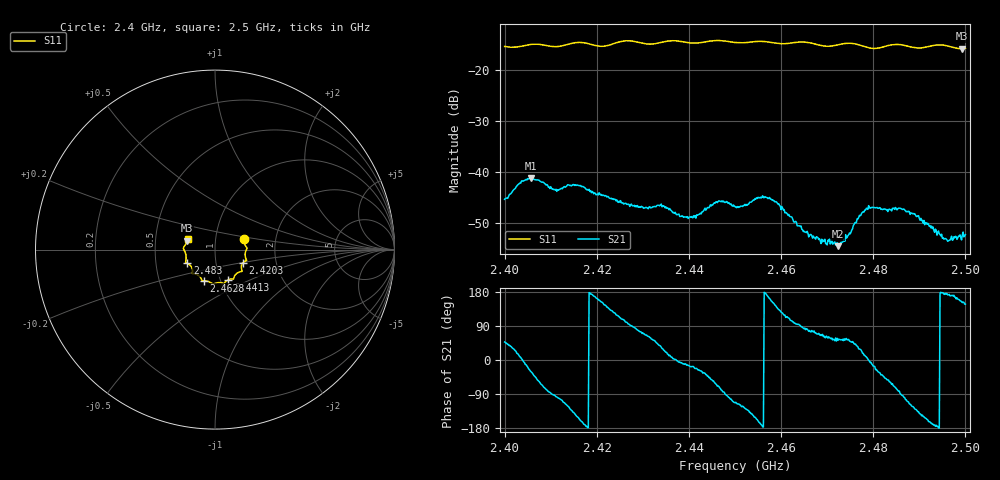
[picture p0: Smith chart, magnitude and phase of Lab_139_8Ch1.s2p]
# Hz S RI R 50
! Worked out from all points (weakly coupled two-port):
!   601 points, 2.4 GHz to 2.5 GHz, reference 50 ohm
!   highest |S21| = -41.23 dB at 2.4057 GHz (marker M1); lowest = -54.6 dB at 2.4723 GHz (marker M2)
!   lowest |S11| = -15.8 dB at 2.4993 GHz (marker M3), VSWR 1.39, Z = 36.5 + j3.72 ohm
!   |S11| at or under -10 dB: start of sweep to end of sweep
!   S12 and S22 are empty: the file has one direction only
!   S11 on the Smith chart (normalised r, x): 2.4 GHz: 1.37, +0.16; 2.4203 GHz: 1.35, -0.21; 2.4413 GHz: 1.09, -0.38; 2.4628 GHz: 0.83, -0.30; 2.483 GHz: 0.72, -0.11; 2.5 GHz: 0.73, +0.09
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2.4e9  0.1605 0.057  0.00362 0.00395  0 0  0 0
2.403333e9  0.1687 0.0231  0.00766 0.00114  0 0  0 0
2.405667e9  0.1778 0.0111  0.0075 -0.00436  0 0  0 0
2.411167e9  0.1679 -0.0229  -0.000801 -0.00668  0 0  0 0
2.416667e9  0.1759 -0.0613  -0.00678 -0.00222  0 0  0 0
2.420333e9  0.1553 -0.0738  -0.0055 0.00218  0 0  0 0
2.428833e9  0.1425 -0.1227  0.000886 0.00457  0 0  0 0
2.433333e9  0.108 -0.1485  0.00353 0.00308  0 0  0 0
2.441333e9  0.0743 -0.168  0.00342 -0.00141  0 0  0 0
2.446333e9  0.0492 -0.1887  0.00187 -0.00474  0 0  0 0
2.45e9  0.0296 -0.1838  -0.00175 -0.00422  0 0  0 0
2.457e9  -0.0169 -0.1882  -0.00547 0.000968  0 0  0 0
2.462833e9  -0.0628 -0.1749  -0.000417 0.00316  0 0  0 0
2.466667e9  -0.0742 -0.1676  0.000497 0.0023  0 0  0 0
2.472333e9  -0.1139 -0.135  0.00115 0.00146  0 0  0 0
2.478667e9  -0.1255 -0.1095  0.00434 0.000431  0 0  0 0
2.483e9  -0.1549 -0.0766  0.0026 -0.00336  0 0  0 0
2.483333e9  -0.157 -0.0756  0.00255 -0.00338  0 0  0 0
2.488667e9  -0.1606 -0.045  -0.00213 -0.00325  0 0  0 0
2.495833e9  -0.1727 0.0151  -0.00217 0.000213  0 0  0 0
2.499333e9  -0.1541 0.0496  -0.0021 0.00114  0 0  0 0
2.5e9  -0.1526 0.0587  -0.00202 0.0013  0 0  0 0
